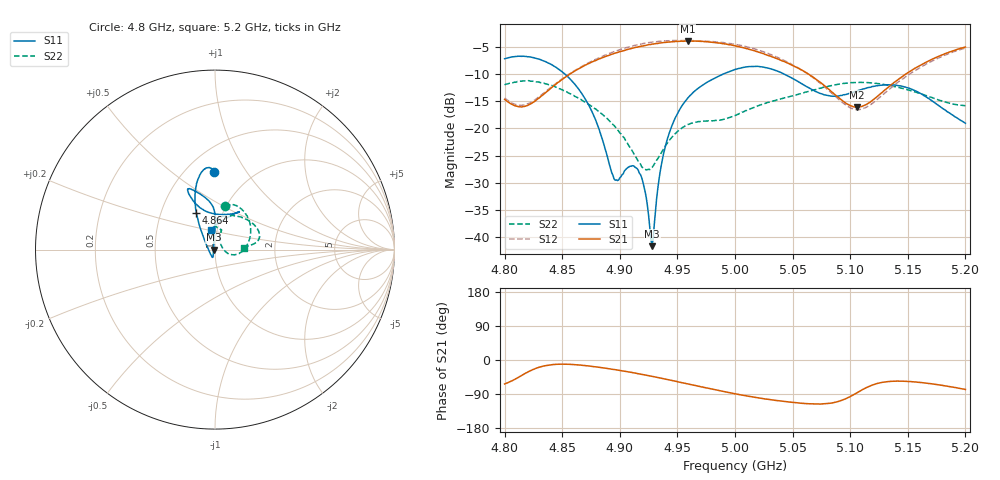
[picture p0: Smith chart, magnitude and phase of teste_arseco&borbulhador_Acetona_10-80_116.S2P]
! Network Analyzer HP8722D
! Hewlett-Packard
! Data name: Linha & Wilkinson
! Saver's name: Rodrigo Anjos
! Comments: Teste da utilização de aquisição
! continua pelo VNA HP8722D
! Time and date: 25/4/2025 16:14
!  Frequency  S11  S21  S12  S22
# HZ  S  MA R 50
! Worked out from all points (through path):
!   401 points, 4.8 GHz to 5.2 GHz, reference 50 ohm
!   highest |S21| = -3.98 dB at 4.959 GHz (marker M1); lowest = -16.1 dB at 5.106 GHz (marker M2)
!   lowest |S11| = -41.6 dB at 4.928 GHz (marker M3), VSWR 1.02, Z = 49.2 - j0.00534 ohm
!   |S11| at or under -10 dB: 4.852 GHz to 4.99 GHz (138.1 MHz wide, 2.81 % of centre); 5.042 GHz to end of sweep
!   |S22| runs from -27.6 to -11.2 dB; largest |S21 - S12| = 1.2
!   S11 on the Smith chart (normalised r, x): 4.8 GHz: 0.68, +0.73; 4.864 GHz: 0.75, +0.33; 5.2 GHz: 0.94, +0.21
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4.8e9  0.4345 90.6  0.1844 -63.3  0.1897 70.1  0.2501 76.9
4.82e9  0.4531 96.9  0.1624 -31.9  0.1677 98.9  0.2718 61.3
4.843e9  0.3711 106.3  0.2472 -11.9  0.2507 118.9  0.2429 36.6
4.864e9  0.2315 116.8  0.3508 -12.9  0.3539 120.9  0.1891 11.8
4.867e9  0.2084 118.5  0.3646 -14.0  0.369 120.6  0.1814 8.4
4.88e9  0.1118 129.0  0.424 -18.4  0.4336 118.2  0.1477 -5.6
4.896e9  0.03341 -165.8  0.4902 -25.5  0.5078 113.2  0.1033 -16.0
4.91e9  0.04493 -108.2  0.5398 -32.6  0.5659 106.9  0.06396 -13.4
4.917e9  0.03871 -105.5  0.5626 -36.6  0.5901 103.3  0.04831 -0.6
4.921e9  0.02915 -109.5  0.5738 -39.0  0.602 101.1  0.04301 13.5
4.928e9  0.0083 -179.6  0.5927 -43.1  0.6179 96.8  0.04377 41.9
4.93e9  0.01339 125.1  0.5958 -44.3  0.6201 95.6  0.04712 48.7
4.934e9  0.03385 100.8  0.6048 -46.9  0.6286 93.1  0.05501 58.5
4.943e9  0.09098 91.3  0.6187 -52.6  0.6368 87.2  0.07777 68.8
4.959e9  0.1896 89.7  0.6323 -62.9  0.6393 77.0  0.1083 71.5
5e9  0.3466 109.2  0.5711 -89.3  0.5905 50.5  0.1309 88.1
5.031e9  0.3511 115.1  0.4583 -104.8  0.4763 33.2  0.1755 84.4
5.067e9  0.2263 105.4  0.2991 -115.9  0.296 23.6  0.2226 56.9
5.106e9  0.2195 64.6  0.1566 -86.4  0.1485 56.7  0.2629 24.6
5.134e9  0.2505 57.2  0.2427 -56.7  0.2284 88.8  0.2477 12.2
5.169e9  0.185 70.1  0.4199 -62.1  0.4029 84.6  0.1941 6.8
5.2e9  0.1113 100.8  0.5565 -77.8  0.5456 70.0  0.1614 3.6
